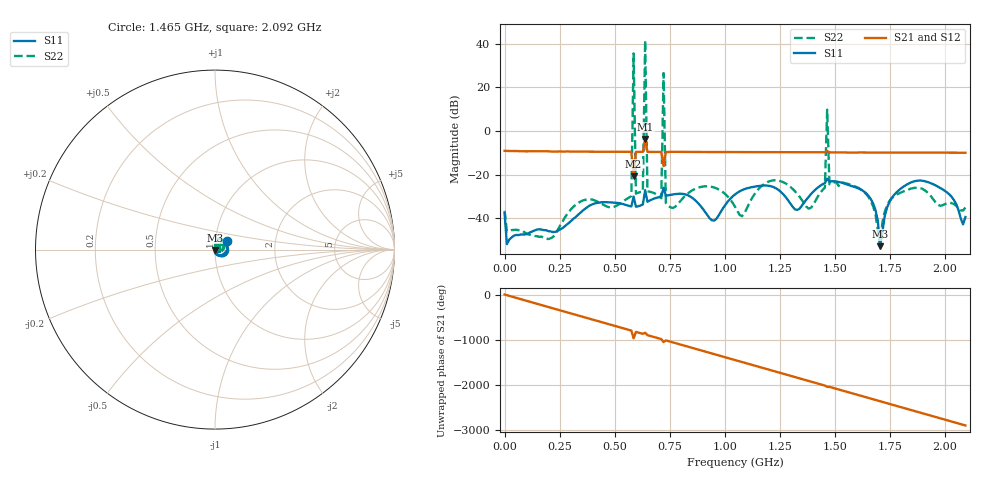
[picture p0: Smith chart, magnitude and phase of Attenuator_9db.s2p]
!Agilent Technologies,E8357A,US42070586,A.04.87.01
!Agilent E8357A: A.04.87.01
!Date: Thursday, April 15, 2021 17:28:09
!Correction: S11(Full 2 Port SOLT,1,2) S21(Full 2 Port SOLT,1,2) S12(Full 2 Port SOLT,1,2) S22(Full 2 Port SOLT,1,2)
!S2P File: Measurements: S11, S21, S12, S22:
# Hz S  RI  R 50
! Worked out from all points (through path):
!   201 points, 300 kHz to 2.092 GHz, reference 50 ohm
!   highest |S21| = -3.67 dB at 638.3 MHz (marker M1); lowest = -20.8 dB at 586.1 MHz (marker M2)
!   lowest |S11| = -52.8 dB at 1.705 GHz (marker M3), VSWR 1.00, Z = 49.8 - j0.157 ohm
!   |S11| at or under -10 dB: start of sweep to end of sweep
!   |S22| runs from -52.5 to 41.4 dB; largest |S21 - S12| = 6.2
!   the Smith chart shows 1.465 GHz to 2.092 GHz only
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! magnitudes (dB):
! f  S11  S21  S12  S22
! 300 kHz  -37.7  -9.1  -9.1  -36.6
! 199 MHz  -45.9  -9.3  -9.3  -49.5
! 355.9 MHz  -36.4  -9.5  -9.4  -31.8
! 575.6 MHz  -34.6  -9.5  -9.5  -29.8
! 586.1 MHz  -30.0  -20.8  5.4  35.5
! 596.5 MHz  -34.7  -9.6  -9.6  -28.7
! 627.9 MHz  -33.6  -9.6  -9.5  -27.7
! 638.3 MHz  -27.1  -3.7  15.8  41.4
! 648.8 MHz  -32.4  -9.6  -9.5  -27.7
! 701.1 MHz  -30.3  -9.6  -9.6  -29.9
! 711.6 MHz  -30.1  -9.6  -9.6  -30.8
! 722 MHz  -26.0  -16.1  11.7  26.5
! 732.5 MHz  -29.7  -9.6  -9.6  -33.0
! 1.046 GHz  -29.1  -9.7  -9.6  -34.7
! 1.402 GHz  -27.8  -9.7  -9.7  -33.7
! 1.454 GHz  -23.8  -9.8  -9.7  -26.0
! 1.465 GHz  -21.9  -9.1  -1.7  9.7
! 1.475 GHz  -23.2  -9.8  -9.7  -24.4
! 1.653 GHz  -29.8  -9.9  -9.9  -30.3
! 1.705 GHz  -52.8  -9.9  -9.9  -52.5
! 1.747 GHz  -32.5  -9.8  -9.8  -32.2
! 2.092 GHz  -39.4  -10.0  -10.0  -35.1
